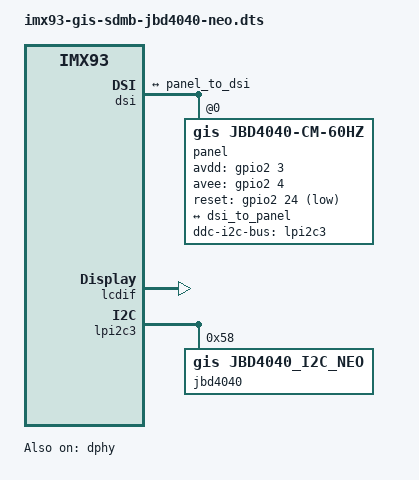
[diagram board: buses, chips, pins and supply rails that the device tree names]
// SPDX-License-Identifier: (GPL-2.0+ OR MIT)
/*
 * Copyright 2024 NXP
 * Copyright 2026 GIS
 * Device Tree for JBD4040 MicroLED in MIPI Command Mode (60Hz)
 */

#include "imx93-gis-sdmb.dts"

&lvds_bridge {
	status = "disabled";
};

&ldb {
	status = "disabled";
};

&ldb_phy {
	status = "disabled";
};

&dphy {
	status = "okay";
};

&dsi {
	status = "okay";

	ports {
		port@1 {
			reg = <1>;

			dsi_to_panel: endpoint {
				remote-endpoint = <&panel_to_dsi>;
			};
		};
	};

	panel@0 {
		reg = <0>;
		compatible = "gis,jbd4040-cm-60hz";

		/* 
		 * 在 Command Mode 下，由 DRM Panel 驅動 (panel-jbd4040.ko)
		 * 統一控制上電時序與復位
		 */
		avdd-gpios  = <&gpio2 3 GPIO_ACTIVE_HIGH>;
		avee-gpios  = <&gpio2 4 GPIO_ACTIVE_HIGH>;
		reset-gpios = <&gpio2 24 GPIO_ACTIVE_LOW>;

		/* 關聯 I2C 匯流排，供 DRM 驅動內部讀寫暫存器 (亮度/白平衡/溫度等) */
		ddc-i2c-bus = <&lpi2c3>;

		pinctrl-names = "default";
		pinctrl-0 = <&pinctrl_jbdpmic>;

		ports {
			port@1 {
				panel_to_dsi: endpoint {
					remote-endpoint = <&dsi_to_panel>;
				};
			};
		};
	};
};

&lcdif {
	/* 
	 * 1. VIDEO_PLL 設為 486000000 
	 * 2. PIX_CLK 設為 16200000 (16.2MHz)
	 */
	assigned-clock-rates = <486000000>, 
	                       <16200000>, 
	                       <400000000>, 
	                       <133333333>;
	status = "okay";
};

&lpi2c3 {
	jbd4040: panel_r@58 {
		compatible = "gis,jbd4040_i2c_neo";
		reg = <0x58>;
		status = "okay";

		regmap {
			luminance@200a14 {
				reg = <0x200a14>;
				bitmask = <0x00001fff>;
				label = "luminance";
			};
			current@200100 {
				reg = <0x200100>;
				bitmask = <0x000000ff>;
				label = "current";
			};
			temperature@200404 {
				reg = <0x200404>;
				bitmask = <0x000003ff>;
				label = "temperature";
			};
			flip@20020e {
				reg = <0x20020e>;
				bitmask = <0x00000002>;
				label = "flip";
			};
			mirror@20020e {
				reg = <0x20020e>;
				bitmask = <0x00000001>;
				label = "mirror";
			};
			offset@200a24 {
				reg = <0x200a24>;
				bitmask = <0x00001f1f>;
				label = "offset";
			};
			fps@200a00 {
				reg = <0x200a00>;
				bitmask = <0x00000007>;
				label = "fps"; 
			};
		};
	};

	panel_g@59 {
		compatible = "gis,jbd4040_i2c_59_dummy";
		reg = <0x59>;
		status = "okay";
	};
	panel_g@5a {
		compatible = "gis,jbd4040_i2c_5a_dummy";
		reg = <0x5a>;
		status = "okay";
	};
	panel_g@5b {
		compatible = "gis,jbd4040_i2c_5b_dummy";
		reg = <0x5b>;
		status = "okay";
	};
};

&iomuxc {
	pinctrl_jbdpmic: jbdpmicgrp {
		fsl,pins = <
			MX93_PAD_GPIO_IO03__GPIO2_IO03 	0x40000041
			MX93_PAD_GPIO_IO04__GPIO2_IO04 	0x40000041
			MX93_PAD_GPIO_IO24__GPIO2_IO24 	0x40000041
		>;
	};
};
